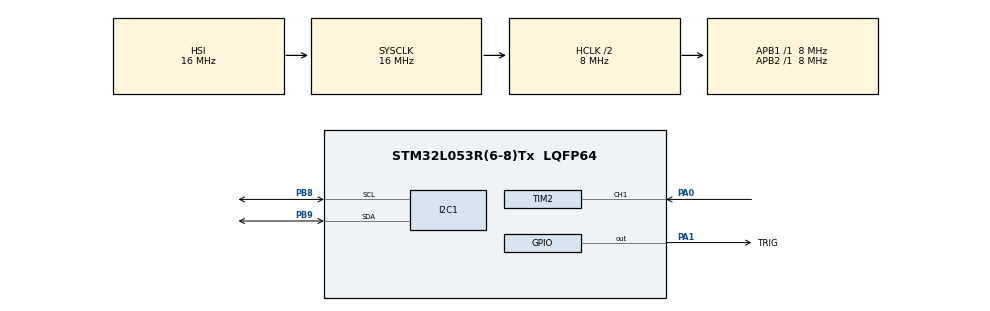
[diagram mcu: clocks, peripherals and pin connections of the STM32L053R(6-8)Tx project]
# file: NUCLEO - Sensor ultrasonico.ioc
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I2C1.Timing=0x00201D2B
Mcu.Family=STM32L0
Mcu.Name=STM32L053R(6-8)Tx
Mcu.Package=LQFP64
NVIC.TIM2_IRQn=true\:0\:0\:false\:false\:true\:true\:true\:true
PA0.Signal=S_TIM2_CH1
PA1.GPIO_Label=TRIG
PA1.GPIO_ModeDefaultOutputPP=GPIO_MODE_OUTPUT_PP
PA1.GPIO_PuPd=GPIO_PULLDOWN
PA1.PinState=GPIO_PIN_RESET
PA1.Signal=GPIO_Output
PB8.Mode=I2C
PB8.Signal=I2C1_SCL
PB9.Mode=I2C
PB9.Signal=I2C1_SDA
ProjectManager.HeapSize=0x200
ProjectManager.StackSize=0x400
ProjectManager.TargetToolchain=STM32CubeIDE
RCC.AHBCLKDivider=RCC_SYSCLK_DIV2
RCC.AHBFreq_Value=8000000
RCC.APB1Freq_Value=8000000
RCC.APB1TimFreq_Value=8000000
RCC.APB2Freq_Value=8000000
RCC.APB2TimFreq_Value=8000000
RCC.HCLKFreq_Value=8000000
RCC.HSE_VALUE=8000000
RCC.HSI16_VALUE=16000000
RCC.HSI48_VALUE=48000000
RCC.HSI_VALUE=16000000
RCC.LSE_VALUE=32768
RCC.MSI_VALUE=2097000
RCC.SYSCLKFreq_VALUE=16000000
RCC.SYSCLKSource=RCC_SYSCLKSOURCE_HSI
RCC.VCOOutputFreq_Value=48000000
SH.S_TIM2_CH1.0=TIM2_CH1,Input_Capture1_from_TI1
TIM2.Channel-Input_Capture1_from_TI1=TIM_CHANNEL_1
TIM2.ICPolarity_CH1=TIM_INPUTCHANNELPOLARITY_BOTHEDGE
TIM2.Prescaler=8-1
TIM6.Prescaler=8-1
VP_TIM6_VS_ClockSourceINT.Mode=Enable_Timer
board=NUCLEO-L053R8

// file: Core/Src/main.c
/* USER CODE BEGIN Header */
/**
  ******************************************************************************
  * @file           : main.c
  * @brief          : Main program body
  ******************************************************************************
  * @attention
  *
  * Copyright (c) 2025 STMicroelectronics.
  * All rights reserved.
  *
  * This software is licensed under terms that can be found in the LICENSE file
  * in the root directory of this software component.
  * If no LICENSE file comes with this software, it is provided AS-IS.
  *
  ******************************************************************************
  */
/* USER CODE END Header */
#include "main.h"

/* USER CODE BEGIN PTD */

typedef enum{
	FIRST_READ,
	SECOND_READ
}Ultrasonic_CapturedValues;

typedef struct{
	uint32_t FirstGetter, SecondGetter, Delta;
	Ultrasonic_CapturedValues Status;
	float Distance;
}Ultrasonic_typedef;
/* USER CODE END PTD */

I2C_HandleTypeDef hi2c1;

TIM_HandleTypeDef htim2;
TIM_HandleTypeDef htim6;

/* USER CODE BEGIN PV */
Ultrasonic_typedef Readder;
/* USER CODE END PV */

void SystemClock_Config(void);
static void MX_GPIO_Init(void);
static void MX_I2C1_Init(void);
static void MX_TIM2_Init(void);
static void MX_TIM6_Init(void);
/* USER CODE BEGIN PFP */

void HAL_TIM_IC_CaptureCallback(TIM_HandleTypeDef *htim){
	if(htim == &htim2){
		if(Readder.Status == FIRST_READ){
			Readder.FirstGetter = HAL_TIM_ReadCapturedValue(htim, TIM_CHANNEL_1);
			__HAL_TIM_SET_CAPTUREPOLARITY(htim, TIM_CHANNEL_1, TIM_INPUTCHANNELPOLARITY_FALLING);
			Readder.Status = SECOND_READ;
		}

		else {
			Readder.SecondGetter = HAL_TIM_ReadCapturedValue(htim, TIM_CHANNEL_1);

			if(Readder.SecondGetter > Readder.FirstGetter) Readder.Delta = Readder.SecondGetter - Readder.FirstGetter;
			else Readder.Delta = (0xFFFF - Readder.FirstGetter) + Readder.SecondGetter;

			Readder.Distance = (float) Readder.Delta / 58.0;

			__HAL_TIM_SET_CAPTUREPOLARITY(htim, TIM_CHANNEL_1, TIM_INPUTCHANNELPOLARITY_RISING);
			Readder.Status = FIRST_READ;
		}
	}
}

void u_Delay(uint32_t delay){
	__HAL_TIM_SET_COUNTER(&htim6, 0);
	while (__HAL_TIM_GET_COUNTER(&htim6) < delay);
}

void HCSR04_Trigger(void){
	HAL_GPIO_WritePin(TRIG_GPIO_Port, TRIG_Pin, GPIO_PIN_SET);
	u_Delay(10);
	HAL_GPIO_WritePin(TRIG_GPIO_Port, TRIG_Pin, GPIO_PIN_RESET);
	u_Delay(50);
}
/* USER CODE END PFP */

int main(void)
{

  /* MCU Configuration--------------------------------------------------------*/

  /* Reset of all peripherals, Initializes the Flash interface and the Systick. */
  HAL_Init();

  /* Configure the system clock */
  SystemClock_Config();

  /* Initialize all configured peripherals */
  MX_GPIO_Init();
  MX_I2C1_Init();
  MX_TIM2_Init();
  MX_TIM6_Init();
  /* USER CODE BEGIN 2 */
  HAL_TIM_Base_Start(&htim6);
  HAL_TIM_IC_Start_IT(&htim2, TIM_CHANNEL_1);
  /* USER CODE END 2 */

  /* Infinite loop */
  /* USER CODE BEGIN WHILE */
  while (1) {
	  HCSR04_Trigger();
	  HAL_Delay(50);
    /* USER CODE END WHILE */

  }
}

void SystemClock_Config(void)
{
  RCC_OscInitTypeDef RCC_OscInitStruct = {0};
  RCC_ClkInitTypeDef RCC_ClkInitStruct = {0};
  RCC_PeriphCLKInitTypeDef PeriphClkInit = {0};

  /** Configure the main internal regulator output voltage
  */
  __HAL_PWR_VOLTAGESCALING_CONFIG(PWR_REGULATOR_VOLTAGE_SCALE1);

  /** Initializes the RCC Oscillators according to the specified parameters
  * in the RCC_OscInitTypeDef structure.
  */
  RCC_OscInitStruct.OscillatorType = RCC_OSCILLATORTYPE_HSI;
  RCC_OscInitStruct.HSIState = RCC_HSI_ON;
  RCC_OscInitStruct.HSICalibrationValue = RCC_HSICALIBRATION_DEFAULT;
  RCC_OscInitStruct.PLL.PLLState = RCC_PLL_NONE;
  if (HAL_RCC_OscConfig(&RCC_OscInitStruct) != HAL_OK)
  {
    Error_Handler();
  }

  /** Initializes the CPU, AHB and APB buses clocks
  */
  RCC_ClkInitStruct.ClockType = RCC_CLOCKTYPE_HCLK|RCC_CLOCKTYPE_SYSCLK
                              |RCC_CLOCKTYPE_PCLK1|RCC_CLOCKTYPE_PCLK2;
  RCC_ClkInitStruct.SYSCLKSource = RCC_SYSCLKSOURCE_HSI;
  RCC_ClkInitStruct.AHBCLKDivider = RCC_SYSCLK_DIV2;
  RCC_ClkInitStruct.APB1CLKDivider = RCC_HCLK_DIV1;
  RCC_ClkInitStruct.APB2CLKDivider = RCC_HCLK_DIV1;

  if (HAL_RCC_ClockConfig(&RCC_ClkInitStruct, FLASH_LATENCY_0) != HAL_OK)
  {
    Error_Handler();
  }
  PeriphClkInit.PeriphClockSelection = RCC_PERIPHCLK_I2C1;
  PeriphClkInit.I2c1ClockSelection = RCC_I2C1CLKSOURCE_PCLK1;
  if (HAL_RCCEx_PeriphCLKConfig(&PeriphClkInit) != HAL_OK)
  {
    Error_Handler();
  }
}

static void MX_I2C1_Init(void)
{

  hi2c1.Instance = I2C1;
  hi2c1.Init.Timing = 0x00201D2B;
  hi2c1.Init.OwnAddress1 = 0;
  hi2c1.Init.AddressingMode = I2C_ADDRESSINGMODE_7BIT;
  hi2c1.Init.DualAddressMode = I2C_DUALADDRESS_DISABLE;
  hi2c1.Init.OwnAddress2 = 0;
  hi2c1.Init.OwnAddress2Masks = I2C_OA2_NOMASK;
  hi2c1.Init.GeneralCallMode = I2C_GENERALCALL_DISABLE;
  hi2c1.Init.NoStretchMode = I2C_NOSTRETCH_DISABLE;
  if (HAL_I2C_Init(&hi2c1) != HAL_OK)
  {
    Error_Handler();
  }

  /** Configure Analogue filter
  */
  if (HAL_I2CEx_ConfigAnalogFilter(&hi2c1, I2C_ANALOGFILTER_ENABLE) != HAL_OK)
  {
    Error_Handler();
  }

  /** Configure Digital filter
  */
  if (HAL_I2CEx_ConfigDigitalFilter(&hi2c1, 0) != HAL_OK)
  {
    Error_Handler();
  }

}

static void MX_TIM2_Init(void)
{

  TIM_MasterConfigTypeDef sMasterConfig = {0};
  TIM_IC_InitTypeDef sConfigIC = {0};

  htim2.Instance = TIM2;
  htim2.Init.Prescaler = 8-1;
  htim2.Init.CounterMode = TIM_COUNTERMODE_UP;
  htim2.Init.Period = 65535;
  htim2.Init.ClockDivision = TIM_CLOCKDIVISION_DIV1;
  htim2.Init.AutoReloadPreload = TIM_AUTORELOAD_PRELOAD_DISABLE;
  if (HAL_TIM_IC_Init(&htim2) != HAL_OK)
  {
    Error_Handler();
  }
  sMasterConfig.MasterOutputTrigger = TIM_TRGO_RESET;
  sMasterConfig.MasterSlaveMode = TIM_MASTERSLAVEMODE_DISABLE;
  if (HAL_TIMEx_MasterConfigSynchronization(&htim2, &sMasterConfig) != HAL_OK)
  {
    Error_Handler();
  }
  sConfigIC.ICPolarity = TIM_INPUTCHANNELPOLARITY_BOTHEDGE;
  sConfigIC.ICSelection = TIM_ICSELECTION_DIRECTTI;
  sConfigIC.ICPrescaler = TIM_ICPSC_DIV1;
  sConfigIC.ICFilter = 0;
  if (HAL_TIM_IC_ConfigChannel(&htim2, &sConfigIC, TIM_CHANNEL_1) != HAL_OK)
  {
    Error_Handler();
  }

}

static void MX_TIM6_Init(void)
{

  TIM_MasterConfigTypeDef sMasterConfig = {0};

  htim6.Instance = TIM6;
  htim6.Init.Prescaler = 8-1;
  htim6.Init.CounterMode = TIM_COUNTERMODE_UP;
  htim6.Init.Period = 65535;
  htim6.Init.AutoReloadPreload = TIM_AUTORELOAD_PRELOAD_DISABLE;
  if (HAL_TIM_Base_Init(&htim6) != HAL_OK)
  {
    Error_Handler();
  }
  sMasterConfig.MasterOutputTrigger = TIM_TRGO_RESET;
  sMasterConfig.MasterSlaveMode = TIM_MASTERSLAVEMODE_DISABLE;
  if (HAL_TIMEx_MasterConfigSynchronization(&htim6, &sMasterConfig) != HAL_OK)
  {
    Error_Handler();
  }

}

static void MX_GPIO_Init(void)
{
  GPIO_InitTypeDef GPIO_InitStruct = {0};

  /* GPIO Ports Clock Enable */
  __HAL_RCC_GPIOA_CLK_ENABLE();
  __HAL_RCC_GPIOB_CLK_ENABLE();

  /*Configure GPIO pin Output Level */
  HAL_GPIO_WritePin(TRIG_GPIO_Port, TRIG_Pin, GPIO_PIN_RESET);

  /*Configure GPIO pin : TRIG_Pin */
  GPIO_InitStruct.Pin = TRIG_Pin;
  GPIO_InitStruct.Mode = GPIO_MODE_OUTPUT_PP;
  GPIO_InitStruct.Pull = GPIO_PULLDOWN;
  GPIO_InitStruct.Speed = GPIO_SPEED_FREQ_LOW;
  HAL_GPIO_Init(TRIG_GPIO_Port, &GPIO_InitStruct);

}

void Error_Handler(void)
{
  __disable_irq();
  while (1)
  {
  }
}
